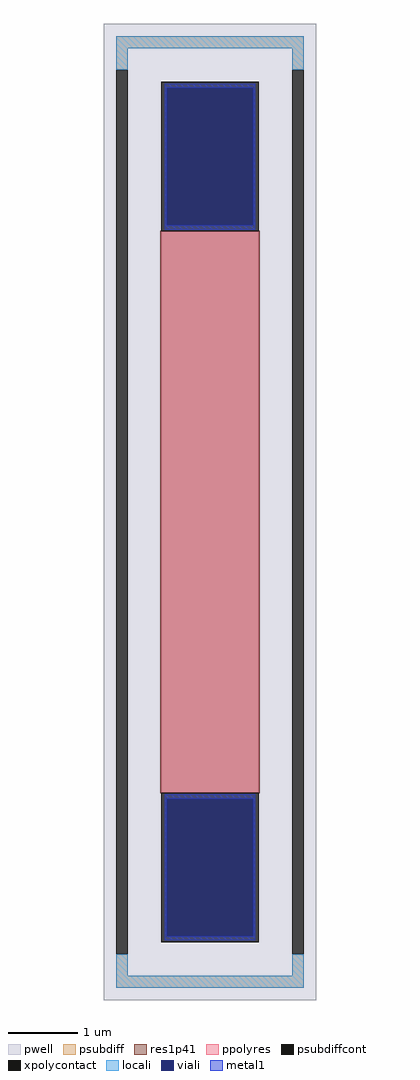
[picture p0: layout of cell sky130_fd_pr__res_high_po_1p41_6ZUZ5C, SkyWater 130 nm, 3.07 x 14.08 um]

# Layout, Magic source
magic
tech sky130A
magscale 1 2
<< pwell >>
rect -307 -1408 307 1408
<< psubdiff >>
rect -271 1338 271 1372
rect -271 1276 -237 1338
rect 237 1276 271 1338
rect -271 -1338 -237 -1276
rect 237 -1338 271 -1276
rect -271 -1372 271 -1338
<< psubdiffcont >>
rect -271 -1276 -237 1276
rect 237 -1276 271 1276
<< xpolycontact >>
rect -141 810 141 1242
rect -141 -1242 141 -810
<< ppolyres >>
rect -141 -810 141 810
<< locali >>
rect -271 1338 271 1372
rect -271 1276 -237 1338
rect 237 1276 271 1338
rect -271 -1338 -237 -1276
rect 237 -1338 271 -1276
rect -271 -1372 271 -1338
<< viali >>
rect -125 827 125 1224
rect -125 -1224 125 -827
<< metal1 >>
rect -131 1224 131 1236
rect -131 827 -125 1224
rect 125 827 131 1224
rect -131 815 131 827
rect -131 -827 131 -815
rect -131 -1224 -125 -827
rect 125 -1224 131 -827
rect -131 -1236 131 -1224
<< res1p41 >>
rect -143 -812 143 812
<< properties >>
string FIXED_BBOX -254 -1355 254 1355
string gencell sky130_fd_pr__res_high_po_1p41
string library sky130
string parameters w 1.410 l 8.1 m 1 nx 1 wmin 1.410 lmin 0.50 rho 319.8 val 2.113k dummy 0 dw 0.0 term 194.82 sterm 0.0 caplen 0 guard 1 glc 1 grc 1 gtc 0 gbc 0 compatible {sky130_fd_pr__res_high_po_0p35  sky130_fd_pr__res_high_po_0p69 sky130_fd_pr__res_high_po_1p41  sky130_fd_pr__res_high_po_2p85 sky130_fd_pr__res_high_po_5p73} snake 0 full_metal 1 wmax 1.410 n_guard 0 hv_guard 0 vias 1 viagb 0 viagt 0 viagl 0 viagr 0
<< end >>
